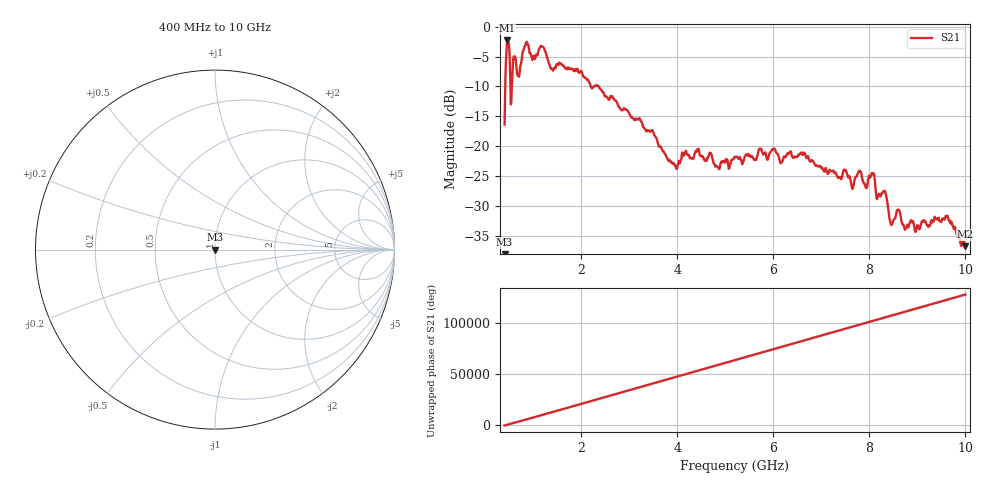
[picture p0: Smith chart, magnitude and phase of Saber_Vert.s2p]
!Keysight Technologies,N5227B,US57180442,A.13.50.07
!Date: Wednesday, August 26, 2020 12:05:24
!Correction: S11(Off)
!S41(Off)
!S14(Off)
!S44(Off)
!S2P File: Measurements: S11, S41, S14, S44:
# Hz S  dB  R 50
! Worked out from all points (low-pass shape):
!   961 points, 400 MHz to 10 GHz, reference 50 ohm
!   highest |S21| = -2.31 dB at 450 MHz (marker M1); lowest = -36.8 dB at 10 GHz (marker M2)
!   |S21| within 3 dB of the highest: 760.7 MHz to 971.6 MHz (210.9 MHz wide, 24.3 % of centre); 1.034 GHz to 1.293 GHz (259.3 MHz wide, 22.3 % of centre) (the widest 2 of 5)
!   lowest |S11| = - dB at 400 MHz (marker M3), VSWR 1.00, Z = 50 + j7.07e-09 ohm
!   |S11| at or under -10 dB: start of sweep to end of sweep
!   S12 and S22 are empty: the file has one direction only
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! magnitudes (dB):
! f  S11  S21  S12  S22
! 400 MHz  -  -16.4  -  -
! 450 MHz  -  -2.3  -  -
! 550 MHz  -  -10.0  -  -
! 600 MHz  -  -5.1  -  -
! 700 MHz  -  -8.4  -  -
! 860 MHz  -  -2.5  -  -
! 1 GHz  -  -5.0  -  -
! 1.2 GHz  -  -3.4  -  -
! 1.39 GHz  -  -7.1  -  -
! 2 GHz  -  -7.5  -  -
! 3.6 GHz  -  -19.7  -  -
! 3.97 GHz  -  -23.7  -  -
! 4.41 GHz  -  -20.8  -  -
! 4.84 GHz  -  -23.5  -  -
! 5.2 GHz  -  -21.9  -  -
! 6.8 GHz  -  -22.3  -  -
! 7.65 GHz  -  -27.2  -  -
! 8.07 GHz  -  -24.7  -  -
! 8.4 GHz  -  -31.0  -  -
! 8.77 GHz  -  -33.7  -  -
! 9.62 GHz  -  -31.7  -  -
! 10 GHz  -  -36.8  -  -
